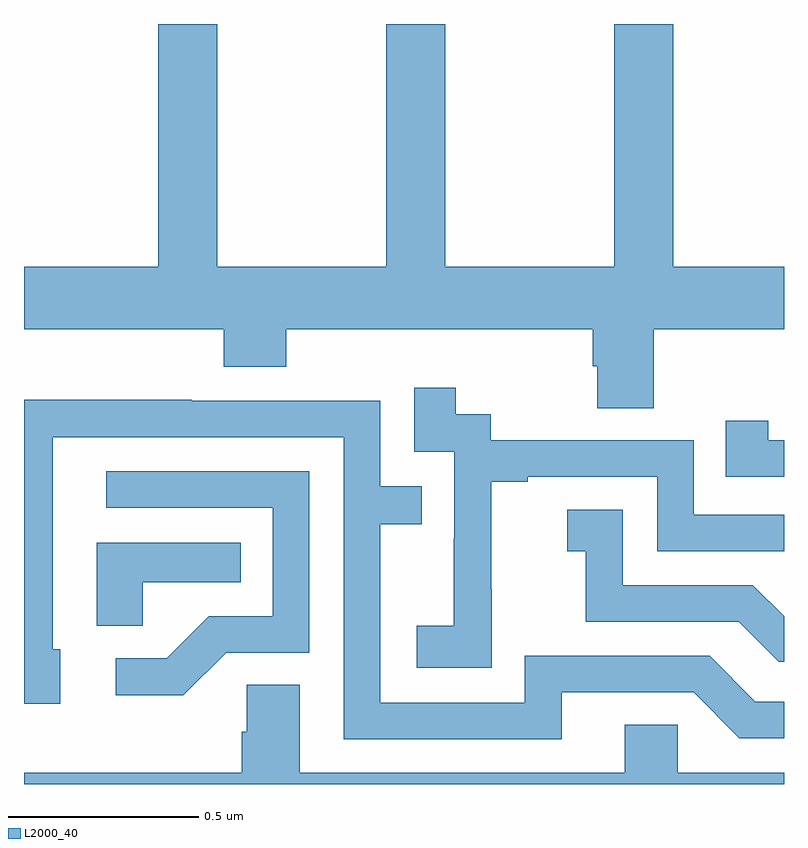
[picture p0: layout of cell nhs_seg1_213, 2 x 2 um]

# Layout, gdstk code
import gdstk
lib = gdstk.Library(unit=1e-6, precision=1e-09)
def P(c, l, *ps):  # polygons
    for p in ps: c.add(gdstk.Polygon(p, *l))
L2000_40 = (2000, 40)

nhs_seg1_213 = lib.new_cell('nhs_seg1_213')
P(nhs_seg1_213, L2000_40, [(114.657,554.396),(115,554.396),(115,554.56),(114.708,554.56),(114.708,555.199),(114.553,555.199),(114.553,554.56),(114.108,554.56),(114.108,555.199),(113.953,555.199),(113.953,554.56),(113.508,554.56),(113.508,555.199),(113.353,555.199),(113.353,554.56),(113,554.56),(113,554.396),(113.525,554.396),(113.525,554.297),(113.69,554.297),(113.69,554.396),(114.497,554.396),(114.497,554.298),(114.509,554.298),(114.509,554.188),(114.657,554.188)],
  [(114.231,553.711),(114.23,553.711),(114.23,553.995),(114.325,553.995),(114.325,554.007),(114.666,554.007),(114.666,553.812),(115,553.812),(115,553.908),(114.762,553.908),(114.762,554.103),(114.228,554.103),(114.228,554.172),(114.136,554.172),(114.136,554.242),(114.027,554.242),(114.027,554.073),(114.132,554.073),(114.132,553.844),(114.131,553.844),(114.131,553.615),(114.033,553.615),(114.033,553.505),(114.231,553.505)],
  [(114.415,553.44),(114.762,553.44),(114.882,553.32),(115,553.32),(115,553.416),(114.924,553.416),(114.804,553.536),(114.318,553.536),(114.318,553.413),(113.937,553.413),(113.937,553.882),(114.047,553.882),(114.047,553.983),(113.937,553.983),(113.937,554.208),(113.441,554.208),(113.441,554.21),(113,554.21),(113,553.41),(113.095,553.41),(113.095,553.554),(113.076,553.554),(113.076,554.112),(113.841,554.112),(113.841,553.317),(114.415,553.317)],
  [(115,554.103),(114.958,554.103),(114.958,554.155),(114.847,554.155),(114.847,554.007),(115,554.007)],
  [(113.532,553.545),(113.751,553.545),(113.751,554.022),(113.217,554.022),(113.217,553.926),(113.655,553.926),(113.655,553.641),(113.486,553.641),(113.375,553.53),(113.241,553.53),(113.241,553.433),(113.419,553.433)],
  [(115,553.64),(114.918,553.722),(114.576,553.722),(114.576,553.921),(114.429,553.921),(114.429,553.811),(114.478,553.811),(114.478,553.626),(114.881,553.626),(114.986,553.521),(115,553.521)],
  [(113.313,553.73),(113.57,553.73),(113.57,553.834),(113.192,553.834),(113.192,553.615),(113.313,553.615)],
  [(115,553.228),(114.72,553.228),(114.72,553.355),(114.581,553.355),(114.581,553.228),(113.725,553.228),(113.725,553.46),(113.586,553.46),(113.586,553.337),(113.573,553.337),(113.573,553.228),(113,553.228),(113,553.199),(115,553.199)])

lib.write_gds('nhs_seg1_213.gds')
